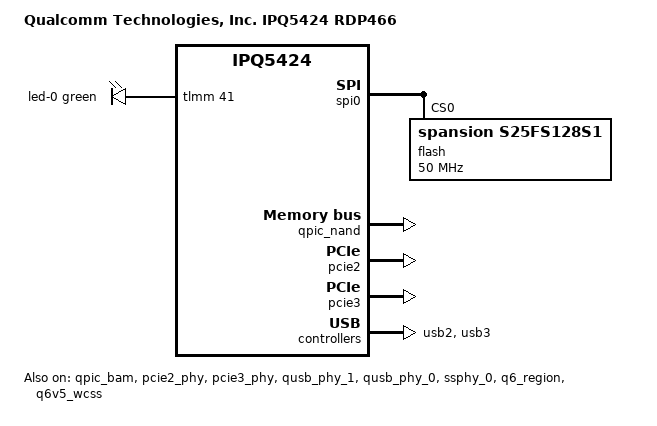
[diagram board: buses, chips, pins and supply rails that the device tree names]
// SPDX-License-Identifier: (GPL-2.0+ OR BSD-3-Clause)
/*
 * IPQ5424 RDP466 board device tree source
 *
 * Copyright (c) 2020-2021 The Linux Foundation. All rights reserved.
 * Copyright (c) 2022-2024 Qualcomm Innovation Center, Inc. All rights reserved.
 */

/dts-v1/;

#include "ipq5424-rdp-common.dtsi"

/ {
	model = "Qualcomm Technologies, Inc. IPQ5424 RDP466";
	compatible = "qcom,ipq5424-rdp466", "qcom,ipq5424";

	soc@0 {
		qupv3: geniqup@1ac0000 {

			spi0: spi@1a90000 {
				pinctrl-0 = <&qup_spi0_default>;
				pinctrl-names = "default";
				status = "okay";

				flash@0 {
					compatible = "spansion,s25fs128s1", "jedec,spi-nor";
					#address-cells = <1>;
					#size-cells = <1>;
					reg = <0>;
					spi-max-frequency = <50000000>;
				};
			};
		};

		leds {
			compatible = "gpio-leds";
			pinctrl-0 = <&gpio_leds_default>;
			pinctrl-names = "default";

			led-0 {
				color = <LED_COLOR_ID_GREEN>;
				function = LED_FUNCTION_WLAN;
				gpios = <&tlmm 41 GPIO_ACTIVE_HIGH>;
				linux,default-trigger = "phy0tx";
				default-state = "off";
			};
		};
	};
};

&qpic_bam {
	status = "okay";
};

&qpic_nand {
	status = "okay";
};

&pcie2_phy {
	status = "okay";
};

&pcie2 {
	status = "okay";

	pcie2_rp {
		reg = <0 0 0 0 0>;

		qcom,mhi@0 {
			reg = <0 0 0 0 0>;
		};
	};
};

&pcie3_phy {
	status = "okay";
};

&pcie3 {
	status = "okay";

	pcie3_rp {
		reg = <0 0 0 0 0>;

		qcom,mhi@0 {
			reg = <0 0 0 0 0>;
		};
	};
};

&qusb_phy_1 {
	status = "okay";
};

&usb2 {
	status = "okay";
};

&qusb_phy_0 {
	status = "okay";
};

&ssphy_0 {
	status = "okay";
};

&usb3 {
	status = "okay";
};

&q6_region {
	status = "okay";
};

&q6v5_wcss {
	status = "okay";
};

&tlmm {
	gpio_leds_default: gpio-leds-default-state {
		pins = "gpio41";
		function = "gpio";
		drive-strength = <8>;
		bias-pull-down;
	};
};
